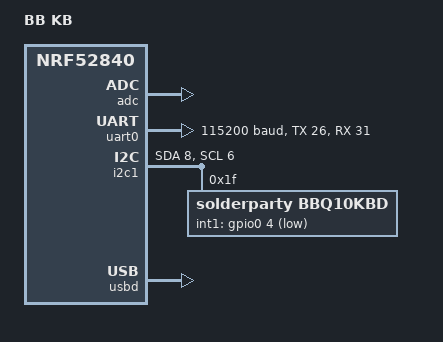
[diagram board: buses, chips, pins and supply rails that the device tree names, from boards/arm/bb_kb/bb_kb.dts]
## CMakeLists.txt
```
# SPDX-License-Identifier: Apache-2.0

# For the sake of demonstration, we add the driver directory as a zephyr module
# by hand. If your driver is a project that's managed by west, you can remove this line.
list(APPEND ZEPHYR_EXTRA_MODULES
  ${CMAKE_CURRENT_SOURCE_DIR}/bbq10kbd_module
  )

cmake_minimum_required(VERSION 3.13.1)

set(OPENOCD_NRF5_SUBFAMILY "nrf52")

list(APPEND BOARD_ROOT ${CMAKE_CURRENT_SOURCE_DIR})
list(APPEND DTS_ROOT ${CMAKE_SOURCE_DIR})

find_package(Zephyr REQUIRED HINTS $ENV{ZEPHYR_BASE})
project(NONE)

FILE(GLOB app_sources src/*.c)
target_sources(app PRIVATE ${app_sources})
```

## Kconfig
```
source "Kconfig.zephyr"
rsource "bbq10kbd_module/zephyr/Kconfig"

menu "Solderparty BBQ10KBD sample"

endmenu
```

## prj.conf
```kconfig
#
# Copyright (c) 2019 Nordic Semiconductor ASA
#
# SPDX-License-Identifier: LicenseRef-Nordic-5-Clause
#
CONFIG_NCS_SAMPLES_DEFAULTS=y

CONFIG_BT=y
CONFIG_BT_DEBUG_LOG=y
CONFIG_BT_MAX_CONN=2
CONFIG_BT_MAX_PAIRED=2
CONFIG_BT_SMP=y
CONFIG_BT_TINYCRYPT_ECC=y
CONFIG_BT_L2CAP_TX_BUF_COUNT=5
CONFIG_BT_PERIPHERAL=y
CONFIG_BT_DEVICE_NAME="BBQ10KBD"
CONFIG_BT_DEVICE_APPEARANCE=961

CONFIG_BT_BAS=y
CONFIG_BT_HIDS=y
CONFIG_BT_HIDS_MAX_CLIENT_COUNT=2
CONFIG_BT_HIDS_DEFAULT_PERM_RW_ENCRYPT=y
CONFIG_BT_GATT_UUID16_POOL_SIZE=40
CONFIG_BT_GATT_CHRC_POOL_SIZE=20

CONFIG_BT_CONN_CTX=y

CONFIG_BT_DIS=y
CONFIG_BT_DIS_PNP=y
CONFIG_BT_DIS_MANUF="NordicSemiconductor"
CONFIG_BT_DIS_PNP_VID_SRC=2
CONFIG_BT_DIS_PNP_VID=0x1915
CONFIG_BT_DIS_PNP_PID=0xEEEF
CONFIG_BT_DIS_PNP_VER=0x0100

CONFIG_SYSTEM_WORKQUEUE_STACK_SIZE=2048

CONFIG_BT_SETTINGS=y
CONFIG_FLASH=y
CONFIG_FLASH_PAGE_LAYOUT=y
CONFIG_FLASH_MAP=y
CONFIG_NVS=y
CONFIG_SETTINGS=y

CONFIG_DK_LIBRARY=y

CONFIG_I2C=y
CONFIG_BBQ10KBD_DRIVER=y

CONFIG_LOG=y
CONFIG_LOG_DEFAULT_LEVEL=4
CONFIG_DEBUG_OPTIMIZATIONS=y
CONFIG_LOG_PRINTK=y

CONFIG_USE_SEGGER_RTT=y
CONFIG_RTT_CONSOLE=y
CONFIG_UART_CONSOLE=n
CONFIG_LOG_BACKEND_RTT=y
CONFIG_LOG_BACKEND_UART=n
CONFIG_APPLICATION_DEFINED_SYSCALL=y
```

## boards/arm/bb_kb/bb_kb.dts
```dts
/*
 * Copyright (c) 2017 Linaro Limited
 *
 * SPDX-License-Identifier: Apache-2.0
 */

/dts-v1/;
#include <nordic/nrf52840_qiaa.dtsi>

/ {
	model = "BB KB";
	compatible = "nordic,nrf52840-dk-nrf52840";

	chosen {
		zephyr,sram = &sram0;
		zephyr,flash = &flash0;
		zephyr,code-partition = &slot0_partition;
	};
};

&adc {
	status = "okay";
};

&gpiote {
	status = "okay";
};

&gpio0 {
	status = "okay";
};

&gpio1 {
	status = "okay";
};

&uart0 {
	compatible = "nordic,nrf-uarte";
	status = "okay";
	current-speed = <115200>;
	tx-pin = <26>;
	rx-pin = <31>;
	rts-pin = <29>;
	cts-pin = <2>;
};

&i2c1 {
	compatible = "nordic,nrf-twi";
	status = "okay";
	sda-pin = <8>;
	scl-pin = <6>;

	bbq10kbd@1f {
        compatible = "solderparty,bbq10kbd";
		reg = <0x1f>;
        label = "BBQ10KBD";
		int1-gpios = <&gpio0 4 (GPIO_PULL_UP | GPIO_ACTIVE_LOW)>;
    };
};

&flash0 {

	partitions {
		compatible = "fixed-partitions";
		#address-cells = <1>;
		#size-cells = <1>;

		boot_partition: partition@0 {
			label = "mcuboot";
			reg = <0x000000000 0x0000C000>;
		};
		slot0_partition: partition@c000 {
			label = "image-0";
			reg = <0x0000C000 0x00067000>;
		};
		slot1_partition: partition@73000 {
			label = "image-1";
			reg = <0x00073000 0x00067000>;
		};
		scratch_partition: partition@da000 {
			label = "image-scratch";
			reg = <0x000da000 0x0001e000>;
		};

		/*
		 * The flash starting at 0x000f8000 and ending at
		 * 0x000fffff is reserved for use by the application.
		 */

		/*
		 * Storage partition will be used by FCB/LittleFS/NVS
		 * if enabled.
		 */
		storage_partition: partition@f8000 {
			label = "storage";
			reg = <0x000f8000 0x00008000>;
		};
	};
};

&usbd {
	compatible = "nordic,nrf-usbd";
	status = "okay";
};
```

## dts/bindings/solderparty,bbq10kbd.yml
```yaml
include: [kscan.yaml, i2c-device.yaml]

compatible: "solderparty,bbq10kbd"

on-bus: i2c

properties:
    reg:
      required: true
    label:
      required: true
    interrupts:
      required: true
```

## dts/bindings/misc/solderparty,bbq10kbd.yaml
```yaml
# Copyright (c) 2018, NXP
# SPDX-License-Identifier: Apache-2.0

description: BBQ10KBD PMOD Keyboard

compatible: "solderparty,bbq10kbd"

include: i2c-device.yaml

properties:
    int1-gpios:
      type: phandle-array
      required: true
      description: INT1 pin
        This pin defaults to active low when produced by the sensor.
```

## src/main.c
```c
/*
 * Copyright (c) 2018 Nordic Semiconductor ASA
 *
 * SPDX-License-Identifier: LicenseRef-Nordic-5-Clause
 */

#include <zephyr/types.h>
#include <stddef.h>
#include <string.h>
#include <errno.h>
#include <sys/printk.h>
#include <sys/byteorder.h>
#include <zephyr.h>
#include <drivers/gpio.h>
#include <drivers/sensor.h>
#include "bbq10kbd_api.h"
#include <soc.h>
#include <assert.h>
#include <spinlock.h>

#include <settings/settings.h>

#include <bluetooth/bluetooth.h>
#include <bluetooth/hci.h>
#include <bluetooth/conn.h>
#include <bluetooth/uuid.h>
#include <bluetooth/gatt.h>

#include <bluetooth/services/bas.h>
#include <bluetooth/services/hids.h>
#include <bluetooth/services/dis.h>

#include <usb/class/usb_hid.h>

#include <logging/log.h>
LOG_MODULE_REGISTER(main);

#define DEVICE_NAME     CONFIG_BT_DEVICE_NAME
#define DEVICE_NAME_LEN (sizeof(DEVICE_NAME) - 1)

#define BASE_USB_HID_SPEC_VERSION   0x0101

#define OUTPUT_REPORT_MAX_LEN            1
#define OUTPUT_REPORT_BIT_MASK_CAPS_LOCK 0x02
#define INPUT_REP_KEYS_REF_ID            1
#define OUTPUT_REP_KEYS_REF_ID           1
#define MODIFIER_KEY_POS                 0
#define SHIFT_KEY_CODE                   0x02
#define SCAN_CODE_POS                    2
#define KEYS_MAX_LEN                    (INPUT_REPORT_KEYS_MAX_LEN - \
					SCAN_CODE_POS)

#define SLEEP_TIME_MS  1

#define ADV_STATUS_LED DK_LED1
#define CON_STATUS_LED DK_LED2
#define LED_CAPS_LOCK  DK_LED3
#define NFC_LED	       DK_LED4
#define KEY_TEXT_MASK  DK_BTN1_MSK
#define KEY_SHIFT_MASK DK_BTN2_MSK
#define KEY_ADV_MASK   DK_BTN4_MSK

/* Key used to accept or reject passkey value */
#define KEY_PAIRING_ACCEPT DK_BTN1_MSK
#define KEY_PAIRING_REJECT DK_BTN2_MSK

/* HIDs queue elements. */
#define HIDS_QUEUE_SIZE 10

/* ********************* */
/* Buttons configuration */

/* Note: The configuration below is the same as BOOT mode configuration
 * This simplifies the code as the BOOT mode is the same as REPORT mode.
 * Changing this configuration would require separate implementation of
 * BOOT mode report generation.
 */
#define KEY_CTRL_CODE_MIN 224 /* Control key codes - required 8 of them */
#define KEY_CTRL_CODE_MAX 231 /* Control key codes - required 8 of them */
#define KEY_CODE_MIN      0   /* Normal key codes */
#define KEY_CODE_MAX      101 /* Normal key codes */
#define KEY_PRESS_MAX     6   /* Maximum number of non-control keys
			       * pressed simultaneously
			       */

/* Number of bytes in key report
 *
 * 1B - control keys
 * 1B - reserved
 * rest - non-control keys
 */
#define INPUT_REPORT_KEYS_MAX_LEN (1 + 1 + KEY_PRESS_MAX)

/* Current report map construction requires exactly 8 buttons */
BUILD_ASSERT((KEY_CTRL_CODE_MAX - KEY_CTRL_CODE_MIN) + 1 == 8);

/* OUT report internal indexes.
 *
 * This is a position in internal report table and is not related to
 * report ID.
 */
enum {
	OUTPUT_REP_KEYS_IDX = 0
};

/* INPUT report internal indexes.
 *
 * This is a position in internal report table and is not related to
 * report ID.
 */
enum {
	INPUT_REP_KEYS_IDX = 0
};

/* HIDS instance. */
BT_HIDS_DEF(hids_obj,
	    OUTPUT_REPORT_MAX_LEN,
	    INPUT_REPORT_KEYS_MAX_LEN);

static volatile bool is_adv;

static const struct bt_data ad[] = {
	BT_DATA_BYTES(BT_DATA_GAP_APPEARANCE,
		      (CONFIG_BT_DEVICE_APPEARANCE >> 0) & 0xff,
		      (CONFIG_BT_DEVICE_APPEARANCE >> 8) & 0xff),
	BT_DATA_BYTES(BT_DATA_FLAGS, (BT_LE_AD_GENERAL | BT_LE_AD_NO_BREDR)),
	BT_DATA_BYTES(BT_DATA_UUID16_ALL,
		      0x12, 0x18,       /* HID Service */
		      0x0f, 0x18),      /* Battery Service */

};

static const struct bt_data sd[] = {
	BT_DATA(BT_DATA_NAME_COMPLETE, DEVICE_NAME, DEVICE_NAME_LEN),
};

static struct conn_mode {
	struct bt_conn *conn;
	bool in_boot_mode;
} conn_mode[CONFIG_BT_HIDS_MAX_CLIENT_COUNT];

/* Current report status
 */
static struct keyboard_state {
	uint8_t ctrl_keys_state; /* Current keys state */
	uint8_t keys_state[KEY_PRESS_MAX];
} hid_keyboard_state;

#if CONFIG_NFC_OOB_PAIRING
static struct k_work adv_work;
#endif

static struct k_work pairing_work;
struct pairing_data_mitm {
	struct bt_conn *conn;
	unsigned int passkey;
};

K_MSGQ_DEFINE(mitm_queue,
	      sizeof(struct pairing_data_mitm),
	      CONFIG_BT_HIDS_MAX_CLIENT_COUNT,
	      4);

static void advertising_start(void)
{
	int err;
	struct bt_le_adv_param *adv_param = BT_LE_ADV_PARAM(
						BT_LE_ADV_OPT_CONNECTABLE |
						BT_LE_ADV_OPT_ONE_TIME,
						BT_GAP_ADV_FAST_INT_MIN_2,
						BT_GAP_ADV_FAST_INT_MAX_2,
						NULL);

	err = bt_le_adv_start(adv_param, ad, ARRAY_SIZE(ad), sd,
			      ARRAY_SIZE(sd));
	if (err) {
		if (err == -EALREADY) {
			printk("Advertising continued\n");
		} else {
			printk("Advertising failed to start (err %d)\n", err);
		}

		return;
	}

	is_adv = true;
	printk("Advertising successfully started\n");
}

static void num_comp_reply(bool accept);

static void pairing_process(struct k_work *work)
{
	int err;
	struct pairing_data_mitm pairing_data;

	char addr[BT_ADDR_LE_STR_LEN];

	err = k_msgq_peek(&mitm_queue, &pairing_data);
	if (err) {
		return;
	}

	bt_addr_le_to_str(bt_conn_get_dst(pairing_data.conn),
			  addr, sizeof(addr));

	printk("Passkey for %s: %06u\n", addr, pairing_data.passkey);
	printk("Press Button 1 to confirm, Button 2 to reject.\n");

	// accept by default
	num_comp_reply(true);
}


static void connected(struct bt_conn *conn, uint8_t err)
{
	char addr[BT_ADDR_LE_STR_LEN+1];

	memset(addr, 0, sizeof(addr) + 1);

	bt_addr_le_to_str(bt_conn_get_dst(conn), addr, sizeof(addr));

	if (err) {
		printk("Failed to connect to %s (%u)\n", addr, err);
		return;
	}

	// printk("Connected %s\n", addr);
	// dk_set_led_on(CON_STATUS_LED);

	err = bt_hids_connected(&hids_obj, conn);

	if (err) {
		printk("Failed to notify HID service about connection\n");
		return;
	}

	for (size_t i = 0; i < CONFIG_BT_HIDS_MAX_CLIENT_COUNT; i++) {
		if (!conn_mode[i].conn) {
			conn_mode[i].conn = conn;
			conn_mode[i].in_boot_mode = false;
			break;
		}
	}

#if CONFIG_NFC_OOB_PAIRING == 0
	for (size_t i = 0; i < CONFIG_BT_HIDS_MAX_CLIENT_COUNT; i++) {
		if (!conn_mode[i].conn) {
			advertising_start();
			return;
		}
	}
#endif
	is_adv = false;
}


static void disconnected(struct bt_conn *conn, uint8_t reason)
{
	int err;
	bool is_any_dev_connected = false;
	char addr[BT_ADDR_LE_STR_LEN];

	bt_addr_le_to_str(bt_conn_get_dst(conn), addr, sizeof(addr));

	printk("Disconnected from %s (reason %u)\n", addr, reason);

	err = bt_hids_disconnected(&hids_obj, conn);

	if (err) {
		printk("Failed to notify HID service about disconnection\n");
	}

	for (size_t i = 0; i < CONFIG_BT_HIDS_MAX_CLIENT_COUNT; i++) {
		if (conn_mode[i].conn == conn) {
			conn_mode[i].conn = NULL;
		} else {
			if (conn_mode[i].conn) {
				is_any_dev_connected = true;
			}
		}
	}

	if (!is_any_dev_connected) {
		// dk_set_led_off(CON_STATUS_LED);
	}

#if CONFIG_NFC_OOB_PAIRING
	if (is_adv) {
		printk("Advertising stopped after disconnect\n");
		bt_le_adv_stop();
		is_adv = false;
	}
#else
	advertising_start();
#endif
}


static void security_changed(struct bt_conn *conn, bt_security_t level,
			     enum bt_security_err err)
{
	char addr[BT_ADDR_LE_STR_LEN];

	bt_addr_le_to_str(bt_conn_get_dst(conn), addr, sizeof(addr));

	if (!err) {
		printk("Security changed: %s level %u\n", addr, level);
	} else {
		printk("Security failed: %s level %u err %d\n", addr, level,
			err);
	}
}


static struct bt_conn_cb conn_callbacks = {
	.connected = connected,
	.disconnected = disconnected,
	.security_changed = security_changed,
};


static void caps_lock_handler(const struct bt_hids_rep *rep)
{
	// uint8_t report_val = ((*rep->data) & OUTPUT_REPORT_BIT_MASK_CAPS_LOCK) ?
			//   1 : 0;
	// dk_set_led(LED_CAPS_LOCK, report_val);
}


static void hids_outp_rep_handler(struct bt_hids_rep *rep,
				  struct bt_conn *conn,
				  bool write)
{
	char addr[BT_ADDR_LE_STR_LEN];

	if (!write) {
		printk("Output report read\n");
		return;
	};

	bt_addr_le_to_str(bt_conn_get_dst(conn), addr, sizeof(addr));
	printk("Output report has been received %s\n", addr);
	caps_lock_handler(rep);
}


static void hids_boot_kb_outp_rep_handler(struct bt_hids_rep *rep,
					  struct bt_conn *conn,
					  bool write)
{
	char addr[BT_ADDR_LE_STR_LEN];

	if (!write) {
		printk("Output report read\n");
		return;
	};

	bt_addr_le_to_str(bt_conn_get_dst(conn), addr, sizeof(addr));
	printk("Boot Keyboard Output report has been received %s\n", addr);
	caps_lock_handler(rep);
}


static void hids_pm_evt_handler(enum bt_hids_pm_evt evt,
				struct bt_conn *conn)
{
	char addr[BT_ADDR_LE_STR_LEN];
	size_t i;

	for (i = 0; i < CONFIG_BT_HIDS_MAX_CLIENT_COUNT; i++) {
		if (conn_mode[i].conn == conn) {
			break;
		}
	}

	if (i >= CONFIG_BT_HIDS_MAX_CLIENT_COUNT) {
		printk("Cannot find connection handle when processing PM");
		return;
	}

	bt_addr_le_to_str(bt_conn_get_dst(conn), addr, sizeof(addr));

	switch (evt) {
	case BT_HIDS_PM_EVT_BOOT_MODE_ENTERED:
		printk("Boot mode entered %s\n", addr);
		conn_mode[i].in_boot_mode = true;
		break;

	case BT_HIDS_PM_EVT_REPORT_MODE_ENTERED:
		printk("Report mode entered %s\n", addr);
		conn_mode[i].in_boot_mode = false;
		break;

	default:
		break;
	}
}


static void hid_init(void)
{
	int err;
	struct bt_hids_init_param    hids_init_obj = { 0 };
	struct bt_hids_inp_rep       *hids_inp_rep;
	struct bt_hids_outp_feat_rep *hids_outp_rep;

	static const uint8_t report_map[] = {
		0x05, 0x01,       /* Usage Page (Generic Desktop) */
		0x09, 0x06,       /* Usage (Keyboard) */
		0xA1, 0x01,       /* Collection (Application) */

		/* Keys */
#if INPUT_REP_KEYS_REF_ID
		0x85, INPUT_REP_KEYS_REF_ID,
#endif
		0x05, 0x07,       /* Usage Page (Key Codes) */
		0x19, 0xe0,       /* Usage Minimum (224) */
		0x29, 0xe7,       /* Usage Maximum (231) */
		0x15, 0x00,       /* Logical Minimum (0) */
		0x25, 0x01,       /* Logical Maximum (1) */
		0x75, 0x01,       /* Report Size (1) */
		0x95, 0x08,       /* Report Count (8) */
		0x81, 0x02,       /* Input (Data, Variable, Absolute) */

		0x95, 0x01,       /* Report Count (1) */
		0x75, 0x08,       /* Report Size (8) */
		0x81, 0x01,       /* Input (Constant) reserved byte(1) */

		0x95, 0x06,       /* Report Count (6) */
		0x75, 0x08,       /* Report Size (8) */
		0x15, 0x00,       /* Logical Minimum (0) */
		0x25, 0x65,       /* Logical Maximum (101) */
		0x05, 0x07,       /* Usage Page (Key codes) */
		0x19, 0x00,       /* Usage Minimum (0) */
		0x29, 0x65,       /* Usage Maximum (101) */
		0x81, 0x00,       /* Input (Data, Array) Key array(6 bytes) */

		/* LED */
#if OUTPUT_REP_KEYS_REF_ID
		0x85, OUTPUT_REP_KEYS_REF_ID,
#endif
		0x95, 0x05,       /* Report Count (5) */
		0x75, 0x01,       /* Report Size (1) */
		0x05, 0x08,       /* Usage Page (Page# for LEDs) */
		0x19, 0x01,       /* Usage Minimum (1) */
		0x29, 0x05,       /* Usage Maximum (5) */
		0x91, 0x02,       /* Output (Data, Variable, Absolute), */
				  /* Led report */
		0x95, 0x01,       /* Report Count (1) */
		0x75, 0x03,       /* Report Size (3) */
		0x91, 0x01,       /* Output (Data, Variable, Absolute), */
				  /* Led report padding */

		0xC0              /* End Collection (Application) */
	};

	hids_init_obj.rep_map.data = report_map;
	hids_init_obj.rep_map.size = sizeof(report_map);

	hids_init_obj.info.bcd_hid = BASE_USB_HID_SPEC_VERSION;
	hids_init_obj.info.b_country_code = 0x00;
	hids_init_obj.info.flags = (BT_HIDS_REMOTE_WAKE |
				    BT_HIDS_NORMALLY_CONNECTABLE);

	hids_inp_rep =
		&hids_init_obj.inp_rep_group_init.reports[INPUT_REP_KEYS_IDX];
	hids_inp_rep->size = INPUT_REPORT_KEYS_MAX_LEN;
	hids_inp_rep->id = INPUT_REP_KEYS_REF_ID;
	hids_init_obj.inp_rep_group_init.cnt++;

	hids_outp_rep =
		&hids_init_obj.outp_rep_group_init.reports[OUTPUT_REP_KEYS_IDX];
	hids_outp_rep->size = OUTPUT_REPORT_MAX_LEN;
	hids_outp_rep->id = OUTPUT_REP_KEYS_REF_ID;
	hids_outp_rep->handler = hids_outp_rep_handler;
	hids_init_obj.outp_rep_group_init.cnt++;

	hids_init_obj.is_kb = true;
	hids_init_obj.boot_kb_outp_rep_handler = hids_boot_kb_outp_rep_handler;
	hids_init_obj.pm_evt_handler = hids_pm_evt_handler;

	err = bt_hids_init(&hids_obj, &hids_init_obj);
	__ASSERT(err == 0, "HIDS initialization failed\n");
}

static void auth_passkey_display(struct bt_conn *conn, unsigned int passkey)
{
	char addr[BT_ADDR_LE_STR_LEN];

	bt_addr_le_to_str(bt_conn_get_dst(conn), addr, sizeof(addr));

	printk("Passkey for %s: %06u\n", addr, passkey);
}

static void auth_passkey_confirm(struct bt_conn *conn, unsigned int passkey)
{
	int err;

	struct pairing_data_mitm pairing_data;

	pairing_data.conn    = bt_conn_ref(conn);
	pairing_data.passkey = passkey;

	err = k_msgq_put(&mitm_queue, &pairing_data, K_NO_WAIT);
	if (err) {
		printk("Pairing queue is full. Purge previous data.\n");
	}

	/* In the case of multiple pairing requests, trigger
	 * pairing confirmation which needed user interaction only
	 * once to avoid display information about all devices at
	 * the same time. Passkey confirmation for next devices will
	 * be proccess from queue after handling the earlier ones.
	 */
	if (k_msgq_num_used_get(&mitm_queue) == 1) {
		k_work_submit(&pairing_work);
	}
}


static void auth_cancel(struct bt_conn *conn)
{
	char addr[BT_ADDR_LE_STR_LEN];

	bt_addr_le_to_str(bt_conn_get_dst(conn), addr, sizeof(addr));

	printk("Pairing cancelled: %s\n", addr);
}

static void pairing_confirm(struct bt_conn *conn)
{
	char addr[BT_ADDR_LE_STR_LEN];

	bt_addr_le_to_str(bt_conn_get_dst(conn), addr, sizeof(addr));

	bt_conn_auth_pairing_confirm(conn);

	printk("Pairing confirmed: %s\n", addr);
}


static void pairing_complete(struct bt_conn *conn, bool bonded)
{
	char addr[BT_ADDR_LE_STR_LEN];

	bt_addr_le_to_str(bt_conn_get_dst(conn), addr, sizeof(addr));

	printk("Pairing completed: %s, bonded: %d\n", addr, bonded);
}


static void pairing_failed(struct bt_conn *conn, enum bt_security_err reason)
{
	char addr[BT_ADDR_LE_STR_LEN];
	struct pairing_data_mitm pairing_data;

	if (k_msgq_peek(&mitm_queue, &pairing_data) != 0) {
		return;
	}

	if (pairing_data.conn == conn) {
		bt_conn_unref(pairing_data.conn);
		k_msgq_get(&mitm_queue, &pairing_data, K_NO_WAIT);
	}

	bt_addr_le_to_str(bt_conn_get_dst(conn), addr, sizeof(addr));

	printk("Pairing failed conn: %s, reason %d\n", addr, reason);
}


static struct bt_conn_auth_cb conn_auth_callbacks = {
	.passkey_display = auth_passkey_display,
	.passkey_confirm = auth_passkey_confirm,
	.cancel = auth_cancel,
	.pairing_confirm = pairing_confirm,
#if CONFIG_NFC_OOB_PAIRING
	.oob_data_request = auth_oob_data_request,
#endif
	.pairing_complete = pairing_complete,
	.pairing_failed = pairing_failed
};


/** @brief Function process keyboard state and sends it
 *
 *  @param pstate     The state to be sent
 *  @param boot_mode  Information if boot mode protocol is selected.
 *  @param conn       Connection handler
 *
 *  @return 0 on success or negative error code.
 */
static int key_report_con_send(const struct keyboard_state *state,
			bool boot_mode,
			struct bt_conn *conn)
{
	int err = 0;
	uint8_t  data[INPUT_REPORT_KEYS_MAX_LEN];
	uint8_t *key_data;
	const uint8_t *key_state;
	size_t n;

	data[0] = state->ctrl_keys_state;
	data[1] = 0;
	key_data = &data[2];
	key_state = state->keys_state;

	for (n = 0; n < KEY_PRESS_MAX; ++n) {
		*key_data++ = *key_state++;
	}
	if (boot_mode) {
		err = bt_hids_boot_kb_inp_rep_send(&hids_obj, conn, data,
							sizeof(data), NULL);
	} else {
		err = bt_hids_inp_rep_send(&hids_obj, conn,
						INPUT_REP_KEYS_IDX, data,
						sizeof(data), NULL);
	}
	return err;
}

/** @brief Function process and send keyboard state to all active connections
 *
 * Function process global keyboard state and send it to all connected
 * clients.
 *
 * @return 0 on success or negative error code.
 */
static int key_report_send(void)
{
	for (size_t i = 0; i < CONFIG_BT_HIDS_MAX_CLIENT_COUNT; i++) {
		if (conn_mode[i].conn) {
			int err;

			err = key_report_con_send(&hid_keyboard_state,
						  conn_mode[i].in_boot_mode,
						  conn_mode[i].conn);
			if (err) {
				printk("Key report send error: %d\n", err);
				return err;
			}
		}
	}
	return 0;
}

/** @brief Change key code to ctrl code mask
 *
 *  Function changes the key code to the mask in the control code
 *  field inside the raport.
 *  Returns 0 if key code is not a control key.
 *
 *  @param key Key code
 *
 *  @return Mask of the control key or 0.
 */
static uint8_t button_ctrl_code(uint8_t key)
{
	if (KEY_CTRL_CODE_MIN <= key && key <= KEY_CTRL_CODE_MAX) {
		return (uint8_t)(1U << (key - KEY_CTRL_CODE_MIN));
	}
	return 0;
}

static int hid_kbd_state_key_set(uint8_t key)
{
	uint8_t ctrl_mask = button_ctrl_code(key);

	if (ctrl_mask) {
		hid_keyboard_state.ctrl_keys_state |= ctrl_mask;
		return 0;
	}
	for (size_t i = 0; i < KEY_CTRL_CODE_MAX; ++i) {
		if (hid_keyboard_state.keys_state[i] == 0) {
			hid_keyboard_state.keys_state[i] = key;
			return 0;
		}
	}
	/* All slots busy */
	return -EBUSY;
}


static int hid_kbd_state_key_clear(uint8_t key)
{
	uint8_t ctrl_mask = button_ctrl_code(key);

	if (ctrl_mask) {
		hid_keyboard_state.ctrl_keys_state &= ~ctrl_mask;
		return 0;
	}
	for (size_t i = 0; i < KEY_CTRL_CODE_MAX; ++i) {
		if (hid_keyboard_state.keys_state[i] == key) {
			hid_keyboard_state.keys_state[i] = 0;
			return 0;
		}
	}
	/* Key not found */
	return -EINVAL;
}

/** @brief Press a button and send report
 *
 *  @note Functions to manipulate hid state are not reentrant
 *  @param keys
 *  @param cnt
 *
 *  @return 0 on success or negative error code.
 */
static int hid_buttons_press(const uint8_t *keys, size_t cnt)
{
	while (cnt--) {
		int err;

		err = hid_kbd_state_key_set(*keys++);
		if (err) {
			printk("Cannot set selected key.\n");
			return err;
		}
	}

	return key_report_send();
}

/** @brief Release the button and send report
 *
 *  @note Functions to manipulate hid state are not reentrant
 *  @param keys
 *  @param cnt
 *
 *  @return 0 on success or negative error code.
 */
static int hid_buttons_release(const uint8_t *keys, size_t cnt)
{
	while (cnt--) {
		int err;

		err = hid_kbd_state_key_clear(*keys++);
		if (err) {
			printk("Cannot clear selected key.\n");
			return err;
		}
	}

	return key_report_send();
}

static void num_comp_reply(bool accept)
{
	struct pairing_data_mitm pairing_data;
	struct bt_conn *conn;

	if (k_msgq_get(&mitm_queue, &pairing_data, K_NO_WAIT) != 0) {
		return;
	}

	conn = pairing_data.conn;

	if (accept) {
		bt_conn_auth_passkey_confirm(conn);
		printk("Numeric Match, conn %p\n", conn);
	} else {
		bt_conn_auth_cancel(conn);
		printk("Numeric Reject, conn %p\n", conn);
	}

	bt_conn_unref(pairing_data.conn);

	if (k_msgq_num_used_get(&mitm_queue)) {
		k_work_submit(&pairing_work);
	}
}

static bool symb = false;

static void kb_callback(const struct device *dev, char key,
			bool pressed, bool hold)
{
	bool tmp_alt = false;

	if (key == 29) { // symbol
		if (pressed) {
			symb = true;
		}
		else if(!pressed) {
			symb = false;
		}
		return;
	}

	uint8_t chr[1] = {0x00}; 

	if(key >= 'A' && key <= 'Z') {
		chr[0] = key - 'A' + 4;
	}

	if (symb) {
		switch (key) {
			case 'W':
				chr[0] = HID_KEY_1;
				break;
			case 'E':
				chr[0] = HID_KEY_2;
				break;
			case 'R':
				chr[0] = HID_KEY_3;
				break;
			case 'S':
				chr[0] = HID_KEY_4;
				break;
			case 'D':
				chr[0] = HID_KEY_5;
				break;
			case 'F':
				chr[0] = HID_KEY_6;
				break;
			case 'Z':
				chr[0] = HID_KEY_7;
				break;
			case 'X':
				chr[0] = HID_KEY_8;
				break;
			case 'C':
				chr[0] = HID_KEY_9;
				break;
			case 126:
				chr[0] = HID_KEY_0;
				break;
			case 'Q':
				tmp_alt = true;
				hid_keyboard_state.ctrl_keys_state |= HID_KBD_MODIFIER_LEFT_SHIFT;
				chr[0] = HID_KEY_3;
				break;
			case 'U':
				tmp_alt = true;
				hid_keyboard_state.ctrl_keys_state |= HID_KBD_MODIFIER_LEFT_SHIFT;
				chr[0] = HID_KEY_MINUS;
				break;
			case 'L':
				tmp_alt = true;
				hid_keyboard_state.ctrl_keys_state |= HID_KBD_MODIFIER_LEFT_SHIFT;
				chr[0] = HID_KEY_APOSTROPHE;
				break;
			case 'P':
				tmp_alt = true;
				hid_keyboard_state.ctrl_keys_state |= HID_KBD_MODIFIER_LEFT_SHIFT;
				chr[0] = HID_KEY_2;
				break;
			case 'H':
				tmp_alt = true;
				hid_keyboard_state.ctrl_keys_state |= HID_KBD_MODIFIER_LEFT_SHIFT;
				chr[0] = HID_KEY_SEMICOLON;
				break;
			case 'A':
				chr[0] = HID_KEY_KPASTERISK;
				break;
			case 'G':
				chr[0] = HID_KEY_SLASH;
				break;
			case 'T':
				tmp_alt = true;
				hid_keyboard_state.ctrl_keys_state |= HID_KBD_MODIFIER_LEFT_SHIFT;
				chr[0] = HID_KEY_9;
				break;
			case 'Y':
				tmp_alt = true;
				hid_keyboard_state.ctrl_keys_state |= HID_KBD_MODIFIER_LEFT_SHIFT;
				chr[0] = HID_KEY_0;
				break;
			case 'I':
				chr[0] = HID_KEY_MINUS;
				break;
			case 'O':
				chr[0] = HID_KEY_KPPLUS;
				break;
			case 'K':
				chr[0] = HID_KEY_APOSTROPHE;
				break;
			case 'J':
				chr[0] = HID_KEY_SEMICOLON;
				break;
			case 'M':
				chr[0] = HID_KEY_DOT;
				break;
			case 'N':
				chr[0] = HID_KEY_COMMA;
				break;
			case 'V':
				tmp_alt = true;
				hid_keyboard_state.ctrl_keys_state |= HID_KBD_MODIFIER_LEFT_SHIFT;
				chr[0] = HID_KEY_SLASH;
				break;
			case 'B':
				tmp_alt = true;
				hid_keyboard_state.ctrl_keys_state |= HID_KBD_MODIFIER_LEFT_SHIFT;
				chr[0] = HID_KEY_1;
				break;
			default:
				break;
		}
	}
	
	switch (key) {
		case 10: // enter
			chr[0] = HID_KEY_ENTER;
			break;
		case 8: // backspace
			chr[0] = HID_KEY_BACKSPACE;
			break;
		case 27: // left shift
			chr[0] = 225;
			break;
		case 28: // right shift
			chr[0] = 225;
			break;
		case 26: // alt
			chr[0] = 225;
			break;
		case 32: // space
			chr[0] = HID_KEY_SPACE;
			break;
		default:
			printk("unknown key: %d\n", key);
	}

	printk("C: (%d) ", key);

	if (chr[0] != 0) {
		if (pressed && !hold) {
			printk("pressed");
			hid_buttons_press(chr, 1);
		}
		else if (pressed && hold) {
			printk("hold");
		}
		else if (!pressed && !hold) {
			hid_buttons_release(chr, 1);
			printk("released");
		}
	}
	if (tmp_alt) {
		hid_keyboard_state.ctrl_keys_state &= ~HID_KBD_MODIFIER_LEFT_SHIFT;
		chr[0] = 225;
		hid_buttons_release(chr, 1);
	}
}

void main(void)
{
	int err;
	printk("Starting Bluetooth Peripheral HIDS keyboard example\n");

	const struct device* kb = device_get_binding("BBQ10KBD");
	if (kb == NULL)
	{
		printk("Failed to get KB device binding\n");
	}

	bbq10kbd_config(kb, kb_callback);
	bbq10kbd_set_backlight(kb, 0x00);

	LOG_INF("device is %p, name is %s", kb, log_strdup(kb->name));

	bt_conn_cb_register(&conn_callbacks);
	bt_conn_auth_cb_register(&conn_auth_callbacks);

	err = bt_enable(NULL);
	if (err) {
		printk("Bluetooth init failed (err %d)\n", err);
		return;
	}

	printk("Bluetooth initialized\n");

	hid_init();

	if (IS_ENABLED(CONFIG_SETTINGS)) {
		settings_load();
	}

	advertising_start();

	k_work_init(&pairing_work, pairing_process);

	for (;;) {
		k_sleep(K_MSEC(SLEEP_TIME_MS));
	}
}
```
